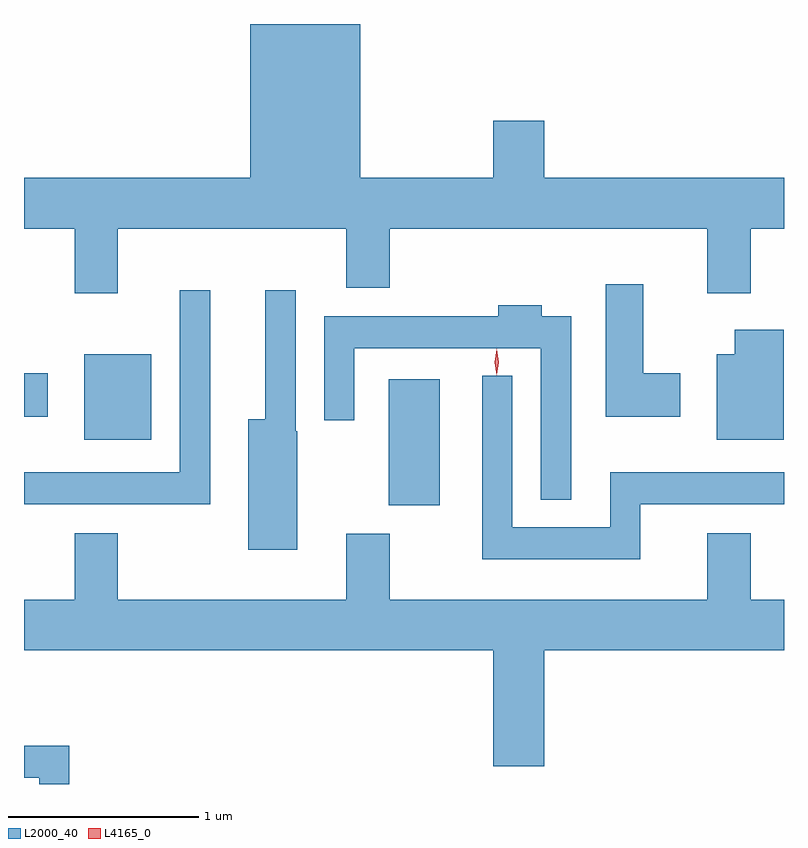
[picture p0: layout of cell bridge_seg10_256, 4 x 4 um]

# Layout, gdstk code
import gdstk
lib = gdstk.Library(unit=1e-6, precision=1e-09)
def R(c, l, rs):  # rectangles x0, y0, x1, y1
    for r in rs: c.add(gdstk.rectangle(r[:2], r[2:], *l))
def P(c, l, *ps):  # polygons
    for p in ps: c.add(gdstk.Polygon(p, *l))
L2000_40 = (2000, 40)
L4165_0 = (4165, 0)

bridge_seg10_256 = lib.new_cell('bridge_seg10_256')
R(bridge_seg10_256, L2000_40, [(1812.926,2101.361,1813.194,2102.024), (1811.321,2101.706,1811.674,2102.154), (1811.005,2101.826,1811.129,2102.054)])
P(bridge_seg10_256, L2000_40, [(1811.499,2102.816),(1812.701,2102.816),(1812.701,2102.506),(1812.929,2102.506),(1812.929,2102.816),(1814.601,2102.816),(1814.601,2102.476),(1814.829,2102.476),(1814.829,2102.816),(1815.005,2102.816),(1815.005,2103.084),(1813.744,2103.084),(1813.744,2103.384),(1813.476,2103.384),(1813.476,2103.084),(1812.774,2103.084),(1812.774,2103.893),(1812.196,2103.893),(1812.196,2103.084),(1811.005,2103.084),(1811.005,2102.816),(1811.271,2102.816),(1811.271,2102.476),(1811.499,2102.476)],
  [(1814.459,2102.054),(1814.264,2102.054),(1814.264,2102.524),(1814.066,2102.524),(1814.066,2101.826),(1814.459,2101.826)],
  [(1812.444,2101.75),(1812.434,2101.75),(1812.434,2102.493),(1812.276,2102.493),(1812.276,2101.814),(1812.186,2101.814),(1812.186,2101.126),(1812.444,2101.126)],
  [(1811.984,2102.493),(1811.826,2102.493),(1811.826,2101.534),(1811.005,2101.534),(1811.005,2101.366),(1811.984,2101.366)],
  [(1813.884,2102.354),(1813.729,2102.354),(1813.729,2102.414),(1813.501,2102.414),(1813.501,2102.354),(1812.586,2102.354),(1812.586,2101.808),(1812.744,2101.808),(1812.744,2102.186),(1813.726,2102.186),(1813.726,2101.388),(1813.884,2101.388)],
  [(1815.004,2102.284),(1814.746,2102.284),(1814.746,2102.154),(1814.651,2102.154),(1814.651,2101.706),(1815.004,2101.706)],
  [(1814.249,2101.366),(1815.005,2101.366),(1815.005,2101.534),(1814.091,2101.534),(1814.091,2101.244),(1813.574,2101.244),(1813.574,2102.043),(1813.416,2102.043),(1813.416,2101.076),(1814.249,2101.076)],
  [(1813.744,2100.596),(1815.005,2100.596),(1815.005,2100.864),(1814.829,2100.864),(1814.829,2101.214),(1814.601,2101.214),(1814.601,2100.864),(1812.929,2100.864),(1812.929,2101.209),(1812.701,2101.209),(1812.701,2100.864),(1811.499,2100.864),(1811.499,2101.214),(1811.271,2101.214),(1811.271,2100.864),(1811.005,2100.864),(1811.005,2100.596),(1813.476,2100.596),(1813.476,2099.986),(1813.744,2099.986)],
  [(1811.244,2100.094),(1811.005,2100.094),(1811.005,2099.926),(1811.086,2099.926),(1811.086,2099.893),(1811.244,2099.893)])
P(bridge_seg10_256, L4165_0, [(1813.492,2102.044),(1813.492,2102.044),(1813.482,2102.113),(1813.492,2102.182),(1813.492,2102.183),(1813.493,2102.182),(1813.502,2102.113),(1813.493,2102.044)],
  [(1813.494,2102.047),(1813.493,2102.048),(1813.484,2102.114),(1813.493,2102.18),(1813.494,2102.18),(1813.494,2102.18),(1813.504,2102.114),(1813.494,2102.048)])

lib.write_gds('bridge_seg10_256.gds')
